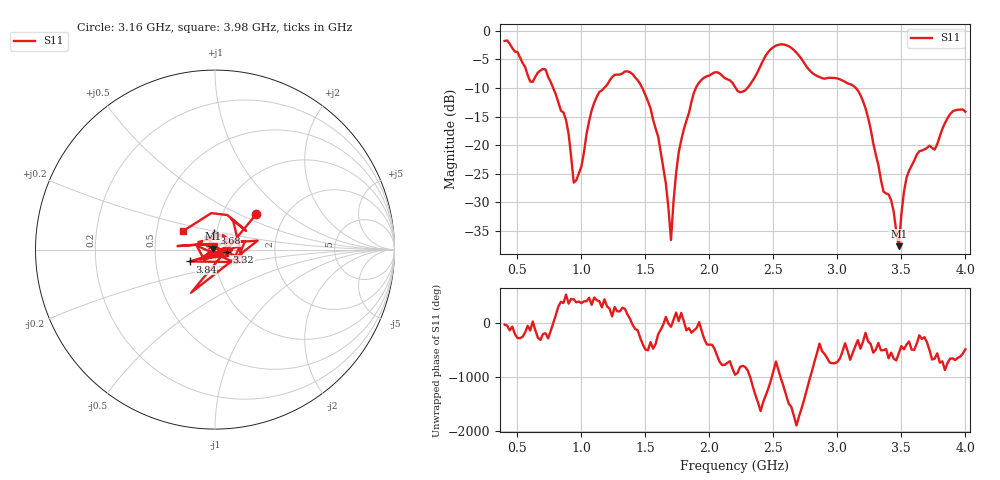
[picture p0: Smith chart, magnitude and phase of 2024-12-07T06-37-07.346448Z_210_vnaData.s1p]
!Created with skrf (http://scikit-rf.org).
# Hz S RI R 50.0
!freq ReS11 ImS11
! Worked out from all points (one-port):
!   181 points, 400 MHz to 4 GHz, reference 50 ohm
!   lowest |S11| = -37.7 dB at 3.48 GHz (marker M1), VSWR 1.03, Z = 48.8 + j0.444 ohm
!   |S11| at or under -10 dB: 779.7 MHz to 1.177 GHz (397.5 MHz wide, 40.6 % of centre); 1.476 GHz to 1.894 GHz (418.7 MHz wide, 24.8 % of centre); 3.143 GHz to end of sweep (the widest 3 of 4)
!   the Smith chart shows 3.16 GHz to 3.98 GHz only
!   S11 on the Smith chart (normalised r, x): 3.16 GHz: 1.44, +0.62; 3.32 GHz: 1.14, -0.03; 3.68 GHz: 0.97, +0.18; 3.84 GHz: 0.75, -0.10; 3.98 GHz: 0.68, +0.15
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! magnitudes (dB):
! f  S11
! 400 MHz  -1.8
! 600 MHz  -8.9
! 720 MHz  -6.8
! 860 MHz  -14.3
! 940 MHz  -26.5
! 1.1 GHz  -12.6
! 1.3 GHz  -7.6
! 1.4 GHz  -7.6
! 1.54 GHz  -13.5
! 1.66 GHz  -26.7
! 1.7 GHz  -36.6
! 1.76 GHz  -21.3
! 1.92 GHz  -9.0
! 2.2 GHz  -9.8
! 2.28 GHz  -10.4
! 2.5 GHz  -2.8
! 2.66 GHz  -3.3
! 3.1 GHz  -9.3
! 3.16 GHz  -10.4
! 3.32 GHz  -23.5
! 3.42 GHz  -29.6
! 3.48 GHz  -37.7
! 3.52 GHz  -28.2
! 3.56 GHz  -24.4
! 3.68 GHz  -20.7
! 3.84 GHz  -16.1
! 3.98 GHz  -13.7
! 4 GHz  -14.1
